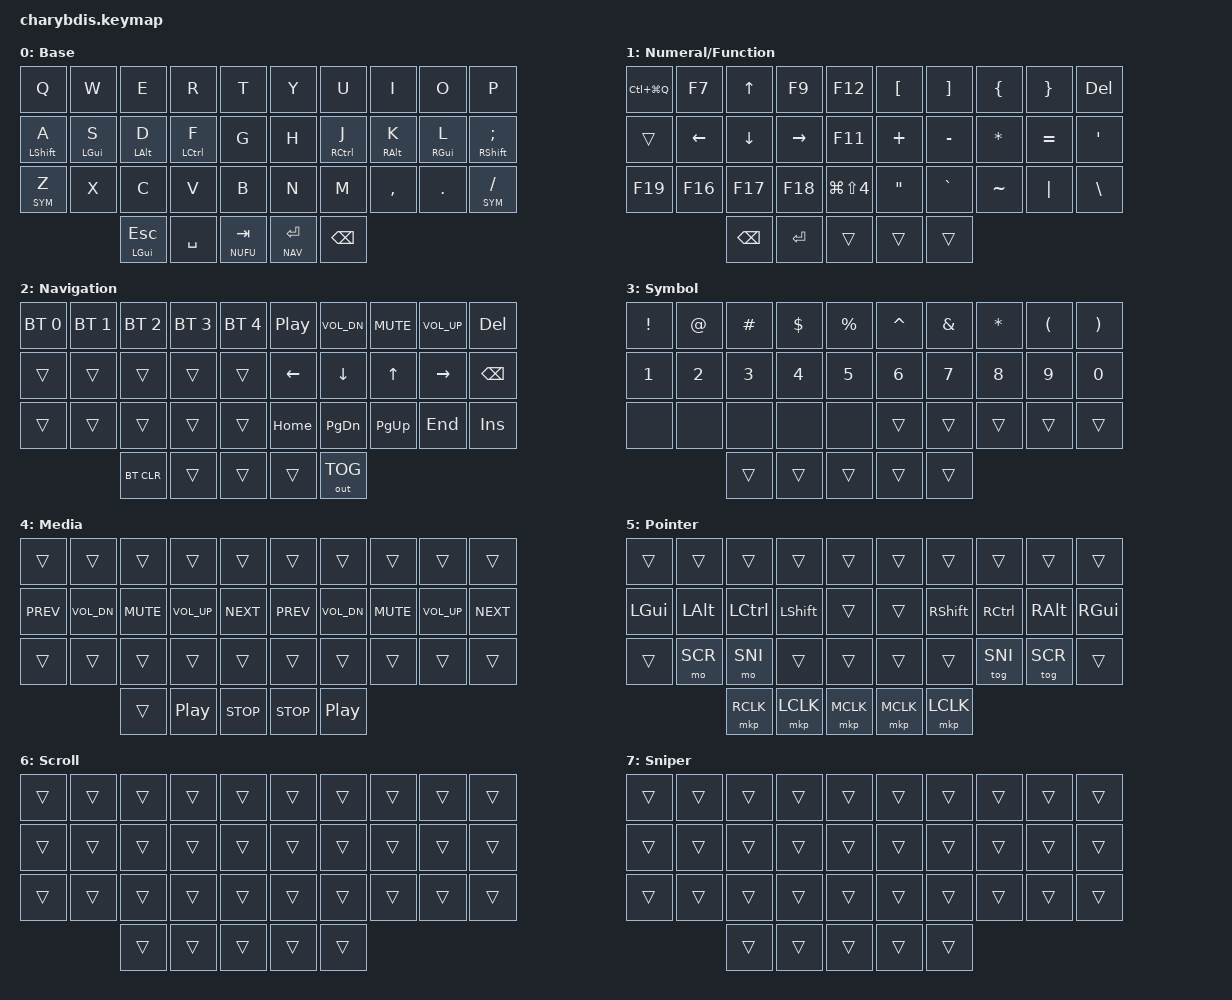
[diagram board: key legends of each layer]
#include <dt-bindings/zmk/mouse.h>
#include <behaviors/mouse_keys.dtsi>
#include <behaviors.dtsi>
#include <dt-bindings/zmk/bt.h>
#include <dt-bindings/zmk/keys.h>
#include <dt-bindings/zmk/outputs.h>

#define BASE 0
#define NUFU 1
#define NAV 2
#define SYM 3
#define MED 4
#define POI 5
#define SCR 6
#define SNI 7

&sl {
  release-after-ms = <250>;
};

&mt {
    tapping-term-ms = <200>;
    require-prior-idle-ms = <150>;
};

/ {
    chosen { zmk,matrix_transform = &five_column_transform; };

    #include "combos.dtsi"

    behaviors {
        hml: homewrow_mods_left {
            compatible = "zmk,behavior-hold-tap";
            label = "HOMEROW_MODS_LEFT_HAND";
            bindings = <&kp>, <&kp>;

            #binding-cells = <2>;
            tapping-term-ms = <200>;
            hold-trigger-key-positions = <5 6 7 8 9 15 16 17 18 19 25 26 27 28 29 33 34>;
            flavor = "balanced";
            quick-tap-ms = <175>;
            require-prior-idle-ms = <125>;
            hold-trigger-on-release;
        };

        hmr: homewrow_mods_right {
            compatible = "zmk,behavior-hold-tap";
            label = "HOMEROW_MODS_RIGHT_HAND";
            bindings = <&kp>, <&kp>;

            #binding-cells = <2>;
            tapping-term-ms = <200>;
            hold-trigger-key-positions = <0 1 2 3 4 10 11 12 13 14 20 21 22 23 24 30 31 32>;
            flavor = "balanced";
            quick-tap-ms = <175>;
            require-prior-idle-ms = <125>;
            hold-trigger-on-release;
        };
    };


    keymap {
        compatible = "zmk,keymap";
        Base {
            label = "Base";
            bindings = < 
              &kp       Q  &kp       W  &kp        E  &kp        R  &kp T            &kp Y      &kp        U  &kp        I  &kp       O  &kp                P  
              &hml LSHFT A &hml LGUI S  &hml LALT D   &hml LCTRL F  &kp G            &kp H      &hml RCTRL J  &hml RALT K   &hml RGUI L  &hml RSHFT SEMICOLON  
              &lt   SYM Z  &kp       X  &kp        C  &kp        V  &kp B            &kp N      &kp        M  &kp    COMMA  &kp     DOT  &lt SYM SLASH
                                           &mt LGUI ESC   &kp SPACE  &lt NUFU TAB     &lt NAV ENTER  &kp BACKSPACE
            >;
        };

        NuFu {
            label = "Numeral/Function";
            bindings = <
                &kp LC(LG(Q))  &kp    F7  &kp   UP       &kp    F9  &kp F12              &kp LBKT  &kp RBKT   &kp LBRC   &kp RBRC   &kp DELETE
                &trans         &kp  LEFT  &kp DOWN       &kp RIGHT  &kp F11              &kp PLUS  &kp MINUS  &kp STAR   &kp EQUAL  &kp SQT
                &kp F19        &kp   F16  &kp  F17       &kp   F18  &kp LG(LS(N4))       &kp DQT   &kp GRAVE  &kp TILDE  &kp PIPE   &kp BSLH
                                          &kp BACKSPACE  &kp ENTER  &trans               &trans    &trans 
            >;
        };

        Navigation {
            label = "Navigation";
            bindings = <
              &bt BT_SEL 0  &bt BT_SEL 1  &bt BT_SEL 2  &bt BT_SEL 3  &bt BT_SEL 4         &kp C_PP      &kp C_VOL_DN   &kp C_MUTE   &kp C_VOL_UP  &kp DELETE
              &trans        &trans        &trans        &trans        &trans               &kp LEFT      &kp DOWN       &kp UP       &kp RIGHT     &kp BACKSPACE
              &trans        &trans        &trans        &trans        &trans               &kp HOME      &kp PAGE_DOWN  &kp PAGE_UP  &kp END       &kp INS
                                          &bt BT_CLR    &trans        &trans               &trans        &out OUT_TOG
            >;
        };

        Symbol {
            label = "Symbol";
            bindings = <
              &kp EXCL  &kp AT  &kp HASH  &kp DLLR  &kp PRCNT       &kp CARET  &kp AMPS  &kp ASTRK  &kp LPAR  &kp RPAR
              &kp N1    &kp N2  &kp N3    &kp N4    &kp N5          &kp N6     &kp N7    &kp N8     &kp N9    &kp N0
              &none     &none   &none     &none     &none           &trans     &trans    &trans     &trans    &trans
                                  &trans     &trans    &trans          &trans     &trans
            >;
        };

        Media {
            label = "Media";
            bindings = <
              &trans     &trans        &trans         &trans       &trans            &trans      &trans        &trans          &trans        &trans
              &kp C_PREV &kp C_VOL_DN  &kp C_MUTE     &kp C_VOL_UP &kp C_NEXT        &kp C_PREV  &kp C_VOL_DN  &kp C_MUTE      &kp C_VOL_UP  &kp C_NEXT
              &trans     &trans        &trans         &trans       &trans            &trans      &trans        &trans          &trans        &trans
                                       &trans    &kp C_PLAY_PAUSE  &kp C_STOP        &kp C_STOP  &kp C_PLAY_PAUSE
            >;
        };

        Pointer {
            label = "Pointer";
            bindings = <
              &trans       &trans       &trans        &trans        &trans               &trans &trans        &trans        &trans       &trans
              &kp LGUI     &kp LALT     &kp LCTRL     &kp LSHFT     &trans               &trans &kp RSHFT     &kp RCTRL     &kp RALT     &kp RGUI
              &trans       &mo SCR      &mo SNI       &trans        &trans               &trans &trans        &tog SNI      &tog SCR     &trans
                                            &mkp RCLK  &mkp LCLK  &mkp MCLK         &mkp MCLK  &mkp LCLK
            >;
        };

        Scroll {
            label = "Scroll";
            bindings = <
                &trans  &trans  &trans  &trans  &trans    &trans  &trans  &trans  &trans  &trans
                &trans  &trans  &trans  &trans  &trans    &trans  &trans  &trans  &trans  &trans
                &trans  &trans  &trans  &trans  &trans    &trans  &trans  &trans  &trans  &trans
                                &trans  &trans  &trans    &trans  &trans
            >;
        };

        Sniper {
            label = "Sniper";
            bindings = <
                &trans  &trans  &trans  &trans  &trans    &trans  &trans  &trans  &trans  &trans
                &trans  &trans  &trans  &trans  &trans    &trans  &trans  &trans  &trans  &trans
                &trans  &trans  &trans  &trans  &trans    &trans  &trans  &trans  &trans  &trans
                                &trans  &trans  &trans    &trans  &trans
            >;
        };
    };
};
